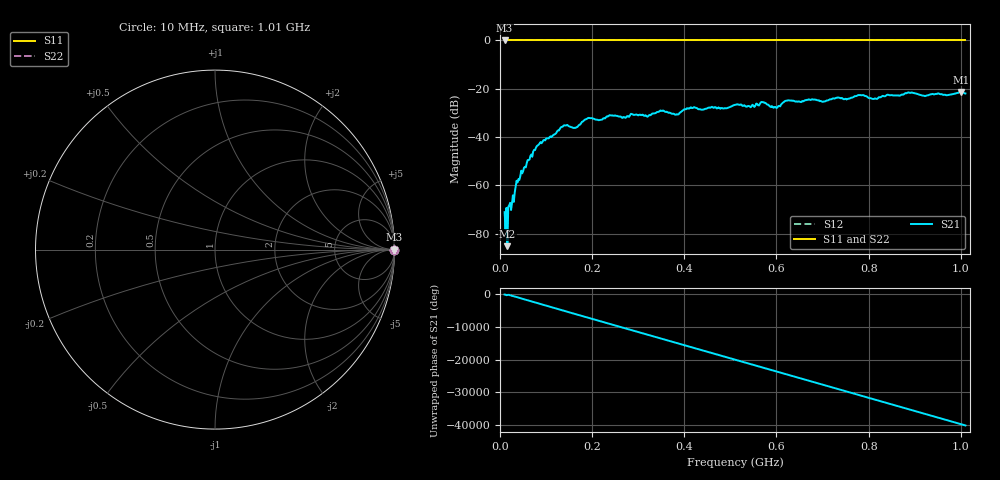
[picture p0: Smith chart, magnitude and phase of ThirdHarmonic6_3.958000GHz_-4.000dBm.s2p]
! 8/17/2025 2:02:48 PM
! C:\ANRITSUVNA\TEMP\TEMP.S2P
! CHANNEL.1
! TR.MEASUREMENT
! RAW.DATA
! RF.CORRECTION.OFF
! AVERAGING.OFF
! IF.BANDWIDTH: 5KHZ
! SWEEPTYPE:  FREQ.SWEEP(Linear)
! Reference Plane Port Info
! PORT:  PORT1  PORT2
! DISTANCE:  0  m  0  m
! TIME:  0  s  0  s
! PHASE.OFFSET:  0  deg.  0  deg.
! LOSS:  0  dB  0  dB
! REF.LOSS:  0  dB  0  dB
! REF.FREQ:  0  Hz  0  Hz
! Power Info
! POWER:  -20  dBm  -20  dBm
! EFF.POWER:  -20  dBm  -20  dBm
! SOURCE.ATTEN:  0  dB  0  dB
! TEST.ATTEN:  0  dB  0  dB
# GHZ S RI R 50.0
! FREQ.GHZ  S11RE  S11IM  S21RE  S21IM  S12RE  S12IM  S22RE  S22IM
!; PortSelection: Port_12
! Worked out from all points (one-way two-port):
!   501 points, 10 MHz to 1.01 GHz, reference 50 ohm
!   highest |S21| = -21.31 dB at 1 GHz (marker M1); lowest = -85.2 dB at 16 MHz (marker M2)
!   lowest |S11| = 0.0 dB at 10 MHz (marker M3)
!   |S11| at or under -10 dB: nowhere
!   |S22| runs from 0.0 to 0.0 dB; largest |S21 - S12| = 1.1
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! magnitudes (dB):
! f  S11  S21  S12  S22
! 10 MHz  0.0  -71.1  0.0  0.0
! 12 MHz  0.0  -78.2  0.0  0.0
! 16 MHz  0.0  -85.2  0.0  0.0
! 28 MHz  0.0  -64.1  0.0  0.0
! 38 MHz  0.0  -58.8  0.0  0.0
! 82 MHz  0.0  -43.4  0.0  0.0
! 136 MHz  0.0  -35.7  0.0  0.0
! 164 MHz  0.0  -36.2  0.0  0.0
! 178 MHz  0.0  -33.7  0.0  0.0
! 194 MHz  0.0  -32.1  0.0  0.0
! 322 MHz  0.0  -31.3  0.0  0.0
! 344 MHz  0.0  -29.6  0.0  0.0
! 384 MHz  0.0  -30.5  0.0  0.0
! 410 MHz  0.0  -28.3  0.0  0.0
! 510 MHz  0.0  -26.7  0.0  0.0
! 570 MHz  0.0  -25.6  0.0  0.0
! 598 MHz  0.0  -27.6  0.0  0.0
! 622 MHz  0.0  -24.9  0.0  0.0
! 678 MHz  0.0  -24.4  0.0  0.0
! 844 MHz  0.0  -22.6  0.0  0.0
! 1 GHz  0.0  -21.3  0.0  0.0
! 1.01 GHz  0.0  -22.0  0.0  0.0
